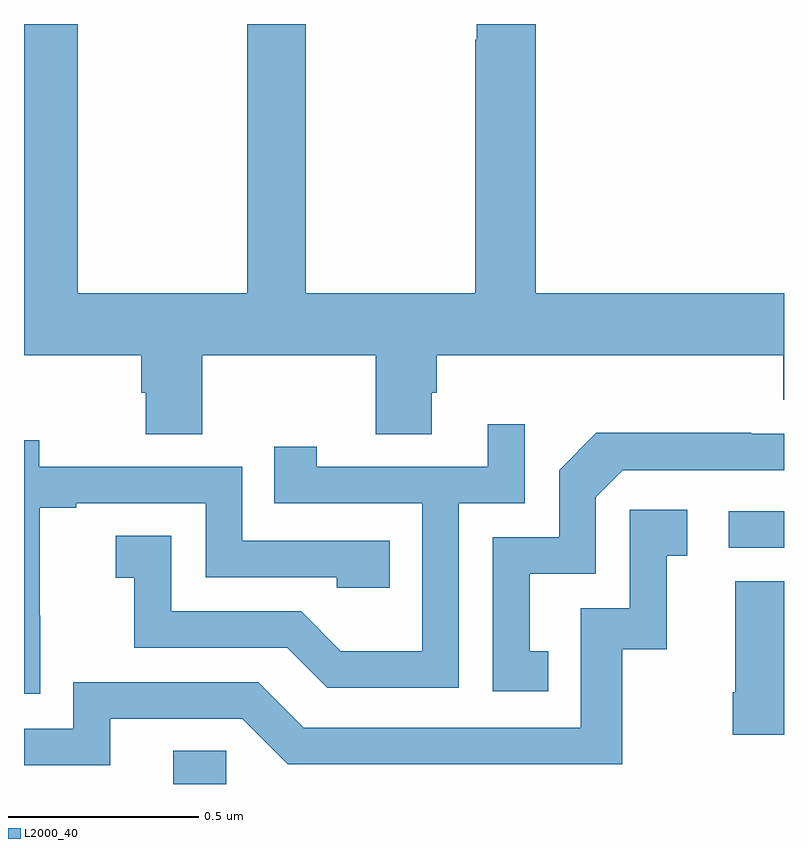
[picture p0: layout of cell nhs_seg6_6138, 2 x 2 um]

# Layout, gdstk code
import gdstk
lib = gdstk.Library(unit=1e-6, precision=1e-09)
def R(c, l, rs):  # rectangles x0, y0, x1, y1
    for r in rs: c.add(gdstk.rectangle(r[:2], r[2:], *l))
def P(c, l, *ps):  # polygons
    for p in ps: c.add(gdstk.Polygon(p, *l))
L2000_40 = (2000, 40)

nhs_seg6_6138 = lib.new_cell('nhs_seg6_6138')
R(nhs_seg6_6138, L2000_40, [(191.393,987.5,191.532,987.587), (192.855,988.122,193,988.218)])
P(nhs_seg6_6138, L2000_40, [(191.469,988.628),(191.926,988.628),(191.926,988.42),(192.073,988.42),(192.073,988.53),(192.086,988.53),(192.086,988.628),(192.998,988.628),(192.998,988.511),(193,988.511),(193,988.792),(192.347,988.792),(192.347,989.5),(192.191,989.5),(192.191,989.459),(192.187,989.459),(192.187,988.792),(191.742,988.792),(191.742,989.5),(191.587,989.5),(191.587,988.792),(191.142,988.792),(191.142,989.5),(191,989.5),(191,988.628),(191.309,988.628),(191.309,988.53),(191.321,988.53),(191.321,988.42),(191.469,988.42)],
  [(192.144,988.239),(192.318,988.239),(192.318,988.447),(192.221,988.447),(192.221,988.335),(191.77,988.335),(191.77,988.387),(191.659,988.387),(191.659,988.239),(192.048,988.239),(192.048,987.85),(191.834,987.85),(191.73,987.954),(191.388,987.954),(191.388,988.153),(191.241,988.153),(191.241,988.043),(191.29,988.043),(191.29,987.858),(191.693,987.858),(191.798,987.753),(192.144,987.753)],
  [(192.38,987.849),(192.331,987.849),(192.331,988.053),(192.504,988.053),(192.504,988.254),(192.576,988.326),(193,988.326),(193,988.422),(192.914,988.422),(192.914,988.424),(192.506,988.424),(192.408,988.326),(192.408,988.149),(192.234,988.149),(192.234,987.744),(192.38,987.744)],
  [(191.043,987.943),(191.042,987.943),(191.042,988.227),(191.137,988.227),(191.137,988.239),(191.478,988.239),(191.478,988.044),(191.823,988.044),(191.823,988.017),(191.963,988.017),(191.963,988.14),(191.574,988.14),(191.574,988.335),(191.04,988.335),(191.04,988.404),(191,988.404),(191,987.737),(191.043,987.737)],
  [(191.227,987.672),(191.574,987.672),(191.694,987.552),(192.574,987.552),(192.574,987.855),(192.692,987.855),(192.692,988.101),(192.745,988.101),(192.745,988.222),(192.594,988.222),(192.594,987.963),(192.465,987.963),(192.465,987.648),(191.736,987.648),(191.616,987.768),(191.13,987.768),(191.13,987.645),(191,987.645),(191,987.549),(191.227,987.549)],
  [(193,988.033),(192.872,988.033),(192.872,987.742),(192.865,987.742),(192.865,987.63),(193,987.63)])

lib.write_gds('nhs_seg6_6138.gds')
